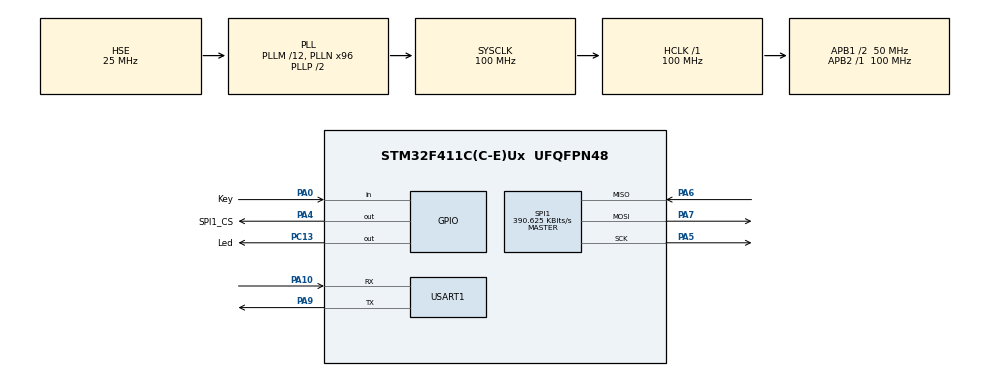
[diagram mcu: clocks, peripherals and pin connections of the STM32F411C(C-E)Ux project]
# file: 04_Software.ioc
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Dma.Request0=USART1_RX
Dma.Request1=USART1_TX
Dma.USART1_RX.0.Direction=DMA_PERIPH_TO_MEMORY
Dma.USART1_RX.0.FIFOMode=DMA_FIFOMODE_DISABLE
Dma.USART1_RX.0.Instance=DMA2_Stream2
Dma.USART1_RX.0.MemDataAlignment=DMA_MDATAALIGN_BYTE
Dma.USART1_RX.0.MemInc=DMA_MINC_ENABLE
Dma.USART1_RX.0.Mode=DMA_NORMAL
Dma.USART1_RX.0.PeriphDataAlignment=DMA_PDATAALIGN_BYTE
Dma.USART1_RX.0.PeriphInc=DMA_PINC_DISABLE
Dma.USART1_RX.0.Priority=DMA_PRIORITY_HIGH
Dma.USART1_TX.1.Direction=DMA_MEMORY_TO_PERIPH
Dma.USART1_TX.1.FIFOMode=DMA_FIFOMODE_DISABLE
Dma.USART1_TX.1.Instance=DMA2_Stream7
Dma.USART1_TX.1.MemDataAlignment=DMA_MDATAALIGN_BYTE
Dma.USART1_TX.1.MemInc=DMA_MINC_ENABLE
Dma.USART1_TX.1.Mode=DMA_NORMAL
Dma.USART1_TX.1.PeriphDataAlignment=DMA_PDATAALIGN_BYTE
Dma.USART1_TX.1.PeriphInc=DMA_PINC_DISABLE
Dma.USART1_TX.1.Priority=DMA_PRIORITY_HIGH
FREERTOS.Tasks01=defaultTask,24,128,StartDefaultTask,Default,NULL,Dynamic,NULL,NULL
Mcu.Family=STM32F4
Mcu.Name=STM32F411C(C-E)Ux
Mcu.Package=UFQFPN48
NVIC.DMA2_Stream2_IRQn=true\:5\:0\:false\:false\:true\:true\:false\:true\:true
NVIC.DMA2_Stream7_IRQn=true\:5\:0\:false\:false\:true\:true\:false\:true\:true
NVIC.PriorityGroup=NVIC_PRIORITYGROUP_4
NVIC.TIM1_TRG_COM_TIM11_IRQn=true\:15\:0\:false\:false\:true\:false\:false\:true\:true
NVIC.TimeBase=TIM1_TRG_COM_TIM11_IRQn
NVIC.TimeBaseIP=TIM11
PA0-WKUP.GPIO_Label=Key
PA0-WKUP.GPIO_PuPd=GPIO_PULLUP
PA0-WKUP.Signal=GPIO_Input
PA10.Mode=Asynchronous
PA10.Signal=USART1_RX
PA13.Mode=Serial_Wire
PA13.Signal=SYS_JTMS-SWDIO
PA14.Mode=Serial_Wire
PA14.Signal=SYS_JTCK-SWCLK
PA4.GPIO_Label=SPI1_CS
PA4.GPIO_Speed=GPIO_SPEED_FREQ_HIGH
PA4.PinState=GPIO_PIN_SET
PA4.Signal=GPIO_Output
PA5.Mode=Full_Duplex_Master
PA5.Signal=SPI1_SCK
PA6.Mode=Full_Duplex_Master
PA6.Signal=SPI1_MISO
PA7.Mode=Full_Duplex_Master
PA7.Signal=SPI1_MOSI
PA9.Mode=Asynchronous
PA9.Signal=USART1_TX
PC13-ANTI_TAMP.GPIO_Label=Led
PC13-ANTI_TAMP.GPIO_PuPd=GPIO_NOPULL
PC13-ANTI_TAMP.Signal=GPIO_Output
PH0\ -\ OSC_IN.Mode=HSE-External-Oscillator
PH0\ -\ OSC_IN.Signal=RCC_OSC_IN
PH1\ -\ OSC_OUT.Mode=HSE-External-Oscillator
PH1\ -\ OSC_OUT.Signal=RCC_OSC_OUT
ProjectManager.HeapSize=0x200
ProjectManager.StackSize=0x400
ProjectManager.TargetToolchain=MDK-ARM V5.32
RCC.48MHZClocksFreq_Value=50000000
RCC.AHBFreq_Value=100000000
RCC.APB1CLKDivider=RCC_HCLK_DIV2
RCC.APB1Freq_Value=50000000
RCC.APB1TimFreq_Value=100000000
RCC.APB2Freq_Value=100000000
RCC.APB2TimFreq_Value=100000000
RCC.CortexFreq_Value=100000000
RCC.HCLKFreq_Value=100000000
RCC.HSE_VALUE=25000000
RCC.HSI_VALUE=16000000
RCC.LSE_VALUE=32768
RCC.PLLM=12
RCC.PLLN=96
RCC.PLLSourceVirtual=RCC_PLLSOURCE_HSE
RCC.SYSCLKFreq_VALUE=100000000
RCC.SYSCLKSource=RCC_SYSCLKSOURCE_PLLCLK
RCC.VCOOutputFreq_Value=200000000
SPI1.BaudRatePrescaler=SPI_BAUDRATEPRESCALER_256
SPI1.CalculateBaudRate=390.625 KBits/s
SPI1.Direction=SPI_DIRECTION_2LINES
SPI1.Mode=SPI_MODE_MASTER
SPI1.VirtualType=VM_MASTER
USART1.VirtualMode=VM_ASYNC
VP_FREERTOS_VS_CMSIS_V2.Mode=CMSIS_V2
VP_SYS_VS_tim11.Mode=TIM11
board=custom

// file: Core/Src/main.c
/* USER CODE BEGIN Header */
/**
  ******************************************************************************
  * @file           : main.c
  * @brief          : Main program body
  ******************************************************************************
  * @attention
  *
  * Copyright (c) 2025 STMicroelectronics.
  * All rights reserved.
  *
  * This software is licensed under terms that can be found in the LICENSE file
  * in the root directory of this software component.
  * If no LICENSE file comes with this software, it is provided AS-IS.
  *
  ******************************************************************************
  */
/* USER CODE END Header */
#include "main.h"
#include "cmsis_os.h"
#include "dma.h"
#include "spi.h"
#include "usart.h"
#include "gpio.h"

/* USER CODE BEGIN Includes */
#include "AT24Cxx_Driver.h"
#include "w25qxx.h"
#include "elog.h"
#include "SEGGER_RTT.h"
/* USER CODE END Includes */

void SystemClock_Config(void);
void MX_FREERTOS_Init(void);

int main(void)
{

  /* MCU Configuration--------------------------------------------------------*/

  /* Reset of all peripherals, Initializes the Flash interface and the Systick. */
  HAL_Init();

  /* Configure the system clock */
  SystemClock_Config();

  /* Initialize all configured peripherals */
  MX_GPIO_Init();
  MX_DMA_Init();
  MX_USART1_UART_Init();
  MX_SPI1_Init();
  /* USER CODE BEGIN 2 */
	//test
	ee_CheckOk();
  if(W25Qx_OK == W25Qx_Init())
	{
		elog_i("INFO","W25Qxx Init SUCCESS");
	}
	else
	{
		elog_i("INFO","W25Qxx Init False");
	}
  /* USER CODE END 2 */

  /* Init scheduler */
  osKernelInitialize();  /* Call init function for freertos objects (in freertos.c) */
  MX_FREERTOS_Init();

  /* Start scheduler */
  osKernelStart();
  /* We should never get here as control is now taken by the scheduler */
  /* Infinite loop */
  while (1)
  {

  }
}

void SystemClock_Config(void)
{
  RCC_OscInitTypeDef RCC_OscInitStruct = {0};
  RCC_ClkInitTypeDef RCC_ClkInitStruct = {0};

  /** Configure the main internal regulator output voltage
  */
  __HAL_RCC_PWR_CLK_ENABLE();
  __HAL_PWR_VOLTAGESCALING_CONFIG(PWR_REGULATOR_VOLTAGE_SCALE1);

  /** Initializes the RCC Oscillators according to the specified parameters
  * in the RCC_OscInitTypeDef structure.
  */
  RCC_OscInitStruct.OscillatorType = RCC_OSCILLATORTYPE_HSE;
  RCC_OscInitStruct.HSEState = RCC_HSE_ON;
  RCC_OscInitStruct.PLL.PLLState = RCC_PLL_ON;
  RCC_OscInitStruct.PLL.PLLSource = RCC_PLLSOURCE_HSE;
  RCC_OscInitStruct.PLL.PLLM = 12;
  RCC_OscInitStruct.PLL.PLLN = 96;
  RCC_OscInitStruct.PLL.PLLP = RCC_PLLP_DIV2;
  RCC_OscInitStruct.PLL.PLLQ = 4;
  if (HAL_RCC_OscConfig(&RCC_OscInitStruct) != HAL_OK)
  {
    Error_Handler();
  }

  /** Initializes the CPU, AHB and APB buses clocks
  */
  RCC_ClkInitStruct.ClockType = RCC_CLOCKTYPE_HCLK|RCC_CLOCKTYPE_SYSCLK
                              |RCC_CLOCKTYPE_PCLK1|RCC_CLOCKTYPE_PCLK2;
  RCC_ClkInitStruct.SYSCLKSource = RCC_SYSCLKSOURCE_PLLCLK;
  RCC_ClkInitStruct.AHBCLKDivider = RCC_SYSCLK_DIV1;
  RCC_ClkInitStruct.APB1CLKDivider = RCC_HCLK_DIV2;
  RCC_ClkInitStruct.APB2CLKDivider = RCC_HCLK_DIV1;

  if (HAL_RCC_ClockConfig(&RCC_ClkInitStruct, FLASH_LATENCY_3) != HAL_OK)
  {
    Error_Handler();
  }
}

/* USER CODE BEGIN 4 */
void app_elog_init(void)
{
    elog_init();
    elog_set_text_color_enabled(true);
    elog_set_fmt(ELOG_LVL_ASSERT,ELOG_FMT_ALL);
    elog_set_fmt(ELOG_LVL_ERROR,ELOG_FMT_LVL |ELOG_FMT_TAG );
    elog_set_fmt(ELOG_LVL_WARN,ELOG_FMT_LVL |ELOG_FMT_TAG );
    elog_set_fmt(ELOG_LVL_INFO,ELOG_FMT_LVL |ELOG_FMT_TAG );
    elog_set_fmt(ELOG_LVL_DEBUG,ELOG_FMT_ALL & ~(ELOG_FMT_TIME | ELOG_FMT_P_INFO));
    elog_set_fmt(ELOG_LVL_VERBOSE,ELOG_FMT_ALL);
    elog_start();
}

/* USER CODE END 4 */

void HAL_TIM_PeriodElapsedCallback(TIM_HandleTypeDef *htim)
{
  if (htim->Instance == TIM11) {
    HAL_IncTick();
  }
}

void Error_Handler(void)
{
  __disable_irq();
  while (1)
  {
  }
}
